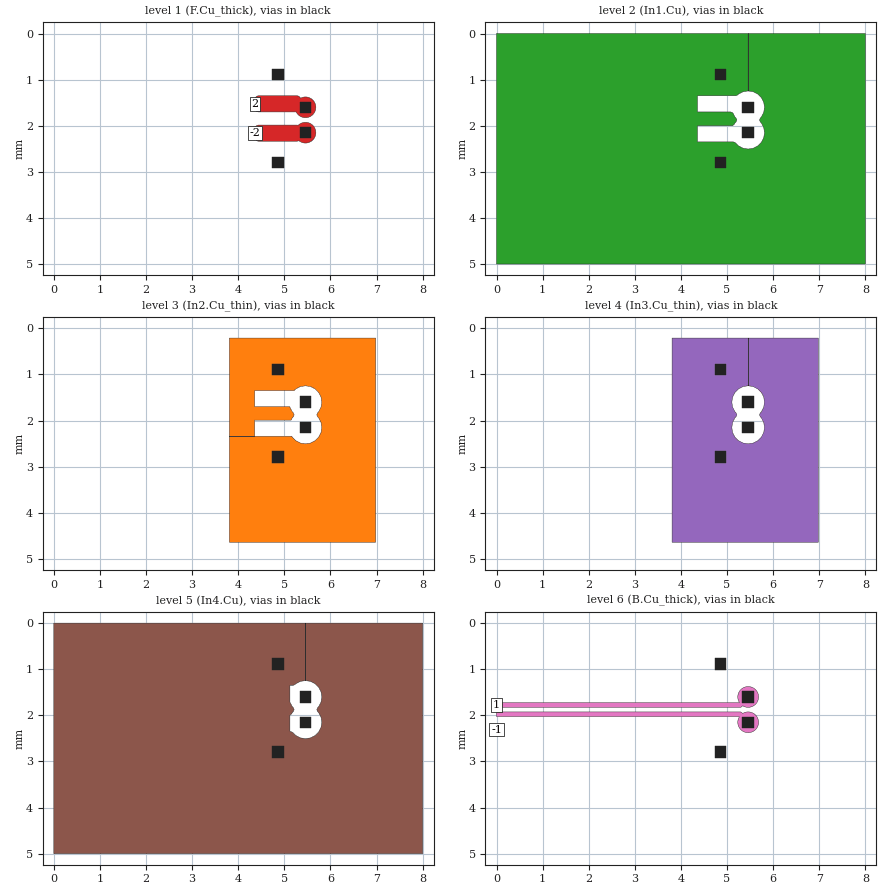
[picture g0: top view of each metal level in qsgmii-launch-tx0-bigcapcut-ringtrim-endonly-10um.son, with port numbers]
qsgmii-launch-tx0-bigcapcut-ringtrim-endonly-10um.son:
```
FTYP SONPROJ 19 ! Sonnet Project File
VER 18.56
HEADER
LIC antikernel2.1.65565
DAT 12/22/2024 02:05:13
BUILT_BY_CREATED xgeom 18.52 11/18/2021 20:28:07
BUILT_BY_SAVED sonnet 18.56
MDATE 12/21/2024 22:08:12
HDATE 12/21/2024 22:08:12
ANN Created by dxfgeo, Sonnet Software Inc.
END HEADER
DIM
ANG DEG
CAP PF
CON /OH
FREQ GHZ
IND NH
LNG MM
RES OH
END DIM
CONTROL
VARSWP
OPTIONS  -dj
SPEED 1
CACHE_ABS 2
Q_ACC N
END CONTROL
GEO
TMET "Free Space" 0 FREESPACE 376.7303136 0 0 0
BMET "Free Space" 0 FREESPACE 376.7303136 0 0 0
MET "Copper_1oz_thin" 1 NOR 58000000 0.5 0.035 
MET "Copper_1oz_thick" 2 TMM 58000000 0.5 0.035 2
MET "Copper_1oz_thick_down" 3 TMM 58000000 0.5 0.035 2 CDVY TDWN
MET "Copper_0.5oz_thin" 4 NOR 58000000 0.5 0.017 
MET "Copper_0.5oz_thick" 12 TMM 58000000 0.5 0.017 2
MET "Copper_0.5oz_thick_down" 5 TMM 58000000 0.5 0.017 2 CDVY TDWN
BOX 8 8 5 1600 1000 20 0
      5 1 1 0 0 0 0 "Air"
      0.04 3.5 1 0.025 0 0 0 "Soldermask"
      0.076 4.49 1 0.016 0 0 0 "Shengyi_S1000-2M"
      0.1 4.49 1 0.016 0 0 0 "Shengyi_S1000-2M"
      1.038 4.49 1 0.016 0 0 0 "Shengyi_S1000-2M"
      0.1 4.49 1 0.016 0 0 0 "Shengyi_S1000-2M"
      0.076 4.49 1 0.016 0 0 0 "Shengyi_S1000-2M"
      0.04 3.5 1 0.025 0 0 0 "Soldermask"
      5 1 1 0 0 0 0 "Air"
TECHLAY METAL F.Cu_thick L1D0 -2 -65534 CAD F.Cu_thick drawing 
1 0 1 N 1184 1 1 100 100 0 0 0 Y
END
END
TECHLAY METAL F.Cu_thin <UNSPECIFIED> -1 -65534 CAD F.Cu_thin drawing 
1 0 0 N 1194 1 1 100 100 0 0 0 Y
END
END
TECHLAY VIA Via1 L7D0 -13 -65534 CAD Via1 drawing 
VIA POLYGON
1 0 -1 N 1302 1 1 100 100 0 0 0 Y
TOLEVEL 6 RING NOCOVERS
END
END
TECHLAY METAL In1.Cu L2D0 -3 -65534 CAD In1.Cu drawing 
2 0 0 N 1203 1 1 100 100 0 0 0 Y
END
END
TECHLAY METAL In2.Cu_thin L3D0 -4 -65534 CAD In2.Cu drawing 
3 0 3 N 1206 1 1 100 100 0 0 0 Y
END
END
TECHLAY METAL In2.Cu_thick <UNSPECIFIED> -5 -65534 CAD In2.Cu_thick drawing 
3 0 4 N 1208 1 1 100 100 0 0 0 Y
END
END
TECHLAY METAL In3.Cu_thin L4D0 -8 -65534 CAD In5.Cu drawing 
4 0 3 N 1211 1 1 100 100 0 0 0 Y
END
END
TECHLAY METAL In4.Cu L5D0 -10 -65534 CAD In6.Cu drawing 
5 0 0 N 1214 1 1 100 100 0 0 0 Y
END
END
TECHLAY METAL B.Cu_thick L6D0 -12 -65534 CAD B.Cu_thick drawing 
6 0 2 N 1217 1 1 100 100 0 0 0 Y
END
END
TECHLAY METAL B.Cu_thin <UNSPECIFIED> -11 -65534 CAD B.Cu_thin drawing 
6 0 0 N 1219 1 1 100 100 0 0 0 Y
END
END
TECHLAY METAL In3.Cu_thick <UNSPECIFIED> -9 -65534 CAD In5.Cu_thick drawing 
8 0 5 N 1223 1 1 100 100 0 0 0 Y
END
END
DIM STD YDIR -1
POS -0.03008618757 -0.1019306425
NOM 0.1
REF1 POLY 1282 1
55
REF2 POLY 1282 1
54
END
DIM STD YDIR 1
POS -0.06148047026 0.08251076824
NOM 0.1
REF1 POLY 1282 1
55
REF2 POLY 1283 1
43
END
LORGN 0 5 U 
POR1 CUP Auto
GNDREF FLOAT
TERMW FEED
POLY 36 1
87
2 100 0 0 0 4.358 1.526 
CUPGRP "Auto" LOCAL
ID 1300
END
POR1 CUP Auto
GNDREF FLOAT
TERMW FEED
POLY 37 1
84
-2 100 0 0 0 4.358 2.161 
CUPGRP "Auto" LOCAL
ID 1301
END
POR1 BOX
POLY 1282 1
54
1 100 0 0 0 0 1.776 
POR1 BOX
POLY 1283 1
43
-1 100 0 0 0 0 1.976 
NUM 12
1 89 1 N 36 1 1 100 100 0 0 0 Y
TLAYNAM F.Cu_thick INH
4.358 1.434
4.359 1.426
4.361 1.417
4.363 1.409
4.366 1.401
4.37 1.394
4.375 1.386
4.393 1.368
4.401 1.363
4.408 1.359
4.416 1.356
4.424 1.354
4.433 1.352
4.441 1.351
5.275 1.351
5.283 1.352
5.292 1.354
5.3 1.356
5.308 1.359
5.315 1.363
5.323 1.368
5.341 1.386
5.346 1.394
5.35 1.401
5.351 1.404
5.362 1.398
5.382 1.389
5.403 1.383
5.425 1.378
5.447 1.376
5.469 1.376
5.491 1.378
5.513 1.383
5.534 1.389
5.554 1.398
5.574 1.408
5.592 1.42
5.609 1.434
5.625 1.45
5.639 1.467
5.651 1.485
5.661 1.505
5.67 1.525
5.676 1.546
5.681 1.568
5.683 1.59
5.683 1.612
5.681 1.634
5.676 1.656
5.67 1.677
5.661 1.697
5.651 1.717
5.639 1.735
5.625 1.752
5.609 1.768
5.592 1.782
5.574 1.794
5.554 1.804
5.534 1.813
5.513 1.819
5.491 1.824
5.469 1.826
5.447 1.826
5.425 1.824
5.403 1.819
5.382 1.813
5.362 1.804
5.342 1.794
5.324 1.782
5.307 1.768
5.291 1.752
5.277 1.735
5.265 1.717
5.257 1.701
4.441 1.701
4.433 1.7
4.424 1.698
4.416 1.696
4.408 1.693
4.401 1.689
4.393 1.684
4.375 1.666
4.37 1.658
4.366 1.651
4.363 1.643
4.361 1.635
4.359 1.626
4.358 1.618
4.358 1.434
END
1 86 1 N 37 1 1 100 100 0 0 0 Y
TLAYNAM F.Cu_thick INH
4.358 2.069
4.359 2.061
4.361 2.052
4.363 2.044
4.366 2.036
4.37 2.029
4.375 2.021
4.393 2.003
4.401 1.998
4.408 1.994
4.416 1.991
4.424 1.989
4.433 1.987
4.441 1.986
5.275 1.986
5.283 1.987
5.292 1.989
5.3 1.991
5.307 1.984
5.324 1.97
5.342 1.958
5.362 1.948
5.382 1.939
5.403 1.933
5.425 1.928
5.447 1.926
5.469 1.926
5.491 1.928
5.513 1.933
5.534 1.939
5.554 1.948
5.574 1.958
5.592 1.97
5.609 1.984
5.625 2
5.639 2.017
5.651 2.035
5.661 2.055
5.67 2.075
5.676 2.096
5.681 2.118
5.683 2.14
5.683 2.162
5.681 2.184
5.676 2.206
5.67 2.227
5.661 2.247
5.651 2.267
5.639 2.285
5.625 2.302
5.609 2.318
5.592 2.332
5.574 2.344
5.554 2.354
5.534 2.363
5.513 2.369
5.491 2.374
5.469 2.376
5.447 2.376
5.425 2.374
5.403 2.369
5.382 2.363
5.362 2.354
5.342 2.344
5.324 2.332
5.315 2.324
5.308 2.328
5.3 2.331
5.292 2.333
5.283 2.335
5.275 2.336
4.441 2.336
4.433 2.335
4.424 2.333
4.416 2.331
4.408 2.328
4.401 2.324
4.393 2.319
4.375 2.301
4.37 2.293
4.366 2.286
4.363 2.278
4.361 2.27
4.359 2.261
4.358 2.253
4.358 2.069
END
VIA POLYGON
1 5 -1 N 806 1 1 100 100 0 0 0 Y
TOLEVEL 6 RING NOCOVERS
TLAYNAM Via1 INH
4.733 0.766
4.983 0.766
4.983 1.016
4.733 1.016
4.733 0.766
END
VIA POLYGON
1 5 -1 N 807 1 1 100 100 0 0 0 Y
TOLEVEL 6 RING NOCOVERS
TLAYNAM Via1 INH
4.733 2.671
4.983 2.671
4.983 2.921
4.733 2.921
4.733 2.671
END
VIA POLYGON
1 5 -1 N 811 1 1 100 100 0 0 0 Y
TOLEVEL 6 RING NOCOVERS
TLAYNAM Via1 INH
5.333 1.476
5.583 1.476
5.583 1.726
5.333 1.726
5.333 1.476
END
VIA POLYGON
1 5 -1 N 812 1 1 100 100 0 0 0 Y
TOLEVEL 6 RING NOCOVERS
TLAYNAM Via1 INH
5.333 2.026
5.583 2.026
5.583 2.276
5.333 2.276
5.333 2.026
END
2 52 0 N 1285 1 1 100 100 0 0 0 Y
TLAYNAM In1.Cu INH
8 0
5.458 0
5.458 1.246
5.568 1.263
5.667 1.314
5.745 1.392
5.796 1.491
5.813 1.601
5.796 1.711
5.745 1.81
5.722 1.833
5.704 1.876
5.722 1.919
5.745 1.942
5.796 2.041
5.813 2.151
5.796 2.261
5.745 2.36
5.667 2.438
5.641 2.451
5.568 2.489
5.458 2.506
5.348 2.489
5.285 2.456
5.249 2.438
5.18 2.369
5.137 2.351
4.358 2.351
4.358 2.001
5.103 2.001
5.122 1.998
5.158 1.967
5.171 1.942
5.194 1.919
5.212 1.876
5.194 1.833
5.171 1.81
5.133 1.735
5.121 1.719
5.078 1.701
4.358 1.701
4.358 1.351
5.187 1.351
5.23 1.333
5.249 1.314
5.348 1.263
5.458 1.246
5.458 0
0 0
0 5
8 5
8 0
END
3 49 3 N 1235 1 1 100 100 0 0 0 Y
TLAYNAM In2.Cu_thin INH
6.98 0.212
3.808 0.212
3.808 2.34
4.358 2.34
4.358 1.991
5.145757576 1.991
5.171 1.942
5.194 1.919
5.212 1.876
5.194 1.833
5.171 1.81
5.12 1.711
5.1183 1.7
4.358 1.7
4.358 1.351
5.212 1.351
5.249 1.314
5.348 1.263
5.458 1.246
5.568 1.263
5.667 1.314
5.745 1.392
5.796 1.491
5.813 1.601
5.796 1.711
5.745 1.81
5.722 1.833
5.704 1.876
5.722 1.919
5.745 1.942
5.796 2.041
5.813 2.151
5.796 2.261
5.745 2.36
5.667 2.438
5.641 2.451
5.568 2.489
5.458 2.506
5.348 2.489
5.285 2.456
5.249 2.438
5.171 2.36
5.16069697 2.34
4.358 2.34
3.808 2.34
3.808 2.34
3.808 4.64
6.98 4.64
6.98 0.212
END
4 46 3 N 1112 1 1 100 100 0 0 0 Y
TLAYNAM In3.Cu_thin INH
6.98 0.212
5.458 0.212
5.458 1.246
5.568 1.263
5.667 1.314
5.745 1.392
5.796 1.491
5.813 1.601
5.796 1.711
5.745 1.81
5.722 1.833
5.704 1.876
5.722 1.919
5.745 1.942
5.796 2.041
5.813 2.151
5.796 2.261
5.745 2.36
5.667 2.438
5.641 2.451
5.568 2.489
5.458 2.506
5.348 2.489
5.285 2.456
5.249 2.438
5.171 2.36
5.12 2.261
5.103 2.151
5.12 2.041
5.171 1.942
5.194 1.919
5.212 1.876
5.194 1.833
5.171 1.81
5.12 1.711
5.103 1.601
5.12 1.491
5.171 1.392
5.249 1.314
5.348 1.263
5.458 1.246
5.458 0.212
3.808 0.212
3.808 4.64
6.98 4.64
6.98 0.212
END
5 50 0 N 1286 1 1 100 100 0 0 0 Y
TLAYNAM In4.Cu INH
8 0
5.458 0
5.458 1.246
5.568 1.263
5.667 1.314
5.745 1.392
5.796 1.491
5.813 1.601
5.796 1.711
5.745 1.81
5.722 1.833
5.704 1.876
5.722 1.919
5.745 1.942
5.796 2.041
5.813 2.151
5.796 2.261
5.745 2.36
5.667 2.438
5.641 2.451
5.568 2.489
5.458 2.506
5.348 2.489
5.285 2.456
5.249 2.438
5.18 2.369
5.137 2.351
5.12 2.351
5.12 1.998315789
5.122 1.998
5.158 1.967
5.171 1.942
5.194 1.919
5.212 1.876
5.194 1.833
5.171 1.81
5.133 1.735
5.121 1.719
5.12 1.718581395
5.12 1.351
5.187 1.351
5.23 1.333
5.249 1.314
5.348 1.263
5.458 1.246
5.458 0
0 0
0 5
8 5
8 0
END
6 70 2 N 1282 1 1 100 100 0 0 0 Y
TLAYNAM B.Cu_thick INH
5.491 1.824
5.513 1.819
5.534 1.813
5.554 1.804
5.574 1.794
5.592 1.782
5.609 1.768
5.625 1.752
5.639 1.735
5.651 1.717
5.661 1.697
5.67 1.677
5.676 1.656
5.681 1.634
5.683 1.612
5.683 1.59
5.681 1.568
5.676 1.546
5.67 1.525
5.661 1.505
5.651 1.485
5.639 1.467
5.625 1.45
5.609 1.434
5.592 1.42
5.574 1.408
5.554 1.398
5.534 1.389
5.513 1.383
5.491 1.378
5.469 1.376
5.447 1.376
5.425 1.378
5.403 1.383
5.382 1.389
5.362 1.398
5.342 1.408
5.324 1.42
5.307 1.434
5.291 1.45
5.277 1.467
5.265 1.485
5.255 1.505
5.246 1.525
5.24 1.546
5.235 1.568
5.233 1.59
5.233 1.612
5.235 1.634
5.24 1.656
5.246 1.677
5.255 1.697
5.267 1.721
5.262 1.726
0 1.726
0 1.826
5.29 1.826
5.295 1.825
5.3 1.823
5.304 1.821
5.309 1.819
5.317 1.813
5.338 1.792
5.362 1.804
5.382 1.813
5.403 1.819
5.425 1.824
5.447 1.826
5.469 1.826
5.491 1.824
END
6 70 2 N 1283 1 1 100 100 0 0 0 Y
TLAYNAM B.Cu_thick INH
5.491 2.374
5.513 2.369
5.534 2.363
5.554 2.354
5.574 2.344
5.592 2.332
5.609 2.318
5.625 2.302
5.639 2.285
5.651 2.267
5.661 2.247
5.67 2.227
5.676 2.206
5.681 2.184
5.683 2.162
5.683 2.14
5.681 2.118
5.676 2.096
5.67 2.075
5.661 2.055
5.651 2.035
5.639 2.017
5.625 2
5.609 1.984
5.592 1.97
5.574 1.958
5.554 1.948
5.534 1.939
5.513 1.933
5.491 1.928
5.469 1.926
5.447 1.926
5.425 1.928
5.403 1.933
5.382 1.939
5.362 1.948
5.338 1.96
5.317 1.939
5.309 1.933
5.304 1.931
5.3 1.929
5.295 1.927
5.29 1.926
0 1.926
0 2.026
5.262 2.026
5.267 2.031
5.255 2.055
5.246 2.075
5.24 2.096
5.235 2.118
5.233 2.14
5.233 2.162
5.235 2.184
5.24 2.206
5.246 2.227
5.255 2.247
5.265 2.267
5.277 2.285
5.291 2.302
5.307 2.318
5.324 2.332
5.342 2.344
5.362 2.354
5.382 2.363
5.403 2.369
5.425 2.374
5.447 2.376
5.469 2.376
5.491 2.374
END
END GEO
OPT
MAX 100
END OPT
VARSWP
ENABLED Y
FREQ Y AY ABS_ENTRY 0.01 20.0 -1 300 
END
END VARSWP
```
